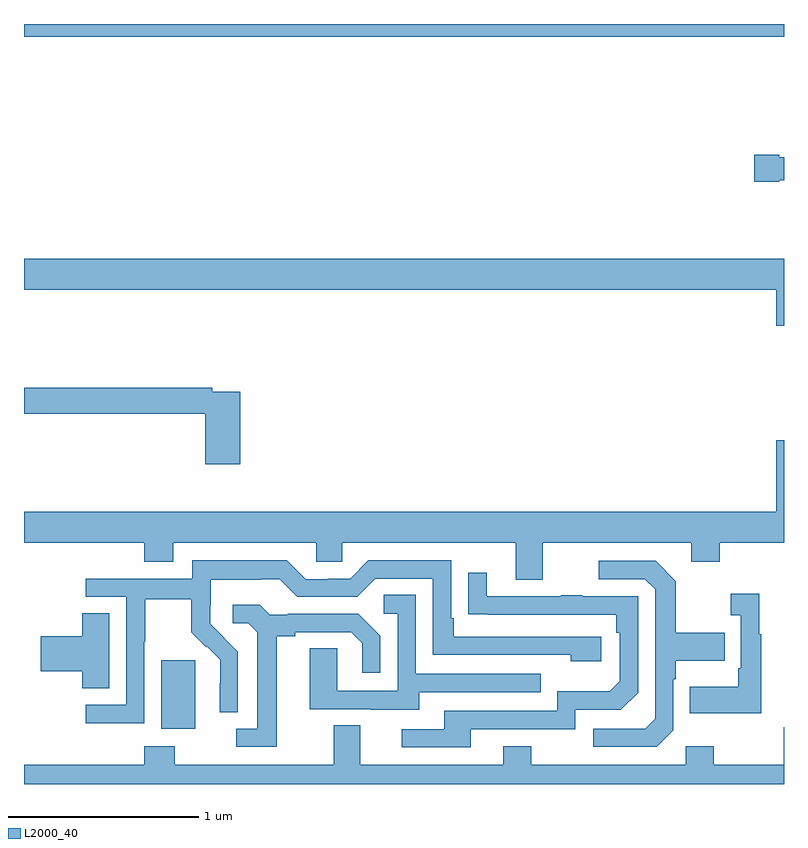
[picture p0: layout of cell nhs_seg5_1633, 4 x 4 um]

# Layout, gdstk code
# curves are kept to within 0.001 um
import gdstk
lib = gdstk.Library(unit=1e-6, precision=1e-09)
def R(c, l, rs):  # rectangles x0, y0, x1, y1
    for r in rs: c.add(gdstk.rectangle(r[:2], r[2:], *l))
def P(c, l, *ps):  # polygons
    for p in ps: c.add(gdstk.Polygon(p, *l))
L2000_40 = (2000, 40)

nhs_seg5_1633 = lib.new_cell('nhs_seg5_1633')
R(nhs_seg5_1633, L2000_40, [(209.723,881.09,209.902,881.451), (209,884.732,213,884.799)])
P(nhs_seg5_1633, L2000_40, [(212.976,883.976),(213,883.976),(213,884.098),(212.976,884.098),(212.976,884.111),(212.844,884.111),(212.844,883.969),(212.976,883.969)],
  [(213,883.564),(209,883.564),(209,883.4),(212.96,883.4),(212.96,883.212),(213,883.212)],
  [(210.137,882.864),(209.99,882.864),(209.99,882.884),(209,882.884),(209,882.748),(209.954,882.748),(209.954,882.483),(210.137,882.483)],
  [(211.729,882.068),(212.513,882.068),(212.513,881.969),(212.661,881.969),(212.661,882.068),(213,882.068),(213,882.607),(212.96,882.607),(212.96,882.232),(209,882.232),(209,882.068),(209.633,882.068),(209.633,881.969),(209.785,881.969),(209.785,882.068),(210.537,882.068),(210.537,881.97),(210.675,881.97),(210.675,882.068),(211.589,882.068),(211.589,881.874),(211.729,881.874)],
  [(209.634,881.548),(209.637,881.548),(209.637,881.772),(209.881,881.772),(209.881,881.597),(209.958,881.52),(209.961,881.523),(210.032,881.453),(210.032,881.33),(210.03,881.33),(210.03,881.176),(210.126,881.176),(210.126,881.494),(209.98,881.642),(209.98,881.739),(209.982,881.739),(209.982,881.873),(210.245,881.873),(210.245,881.877),(210.345,881.877),(210.438,881.784),(210.753,881.784),(210.849,881.88),(211.152,881.88),(211.152,881.478),(211.877,881.478),(211.877,881.444),(212.038,881.444),(212.038,881.574),(211.261,881.574),(211.261,881.671),(211.248,881.671),(211.248,881.976),(210.813,881.976),(210.717,881.88),(210.599,881.88),(210.599,881.877),(210.483,881.877),(210.383,881.977),(209.886,881.977),(209.886,881.88),(209.325,881.88),(209.325,881.784),(209.538,881.784),(209.538,881.217),(209.325,881.217),(209.325,881.119),(209.634,881.119)],
  [(212.418,881.082),(212.418,881.351),(212.431,881.351),(212.431,881.447),(212.687,881.447),(212.687,881.595),(212.431,881.595),(212.431,881.867),(212.325,881.973),(212.025,881.973),(212.025,881.877),(212.268,881.877),(212.322,881.823),(212.322,881.142),(212.271,881.091),(211.995,881.091),(211.995,880.995),(212.331,880.995)],
  [(211.351,881.088),(211.902,881.088),(211.902,881.19),(212.142,881.19),(212.232,881.28),(212.232,881.787),(211.937,881.787),(211.937,881.792),(211.825,881.792),(211.825,881.787),(211.435,881.787),(211.435,881.911),(211.339,881.911),(211.339,881.692),(212.116,881.691),(212.116,881.594),(212.136,881.594),(212.136,881.34),(212.083,881.287),(211.806,881.287),(211.806,881.184),(211.211,881.184),(211.211,881.088),(210.987,881.088),(210.987,880.992),(211.351,880.992)],
  [(212.881,881.587),(212.869,881.587),(212.869,881.8),(212.721,881.8),(212.721,881.687),(212.772,881.687),(212.772,881.407),(212.76,881.407),(212.76,881.311),(212.503,881.311),(212.503,881.171),(212.881,881.171)],
  [(211.081,881.283),(211.721,881.283),(211.721,881.379),(211.062,881.379),(211.062,881.795),(210.894,881.795),(210.894,881.694),(210.966,881.694),(210.966,881.289),(210.648,881.289),(210.648,881.513),(210.503,881.513),(210.503,881.193),(210.827,881.193),(210.827,881.189),(211.081,881.189)],
  [(210.331,881.576),(210.427,881.576),(210.427,881.598),(210.722,881.598),(210.779,881.541),(210.779,881.385),(210.876,881.385),(210.876,881.578),(210.76,881.694),(210.388,881.694),(210.388,881.691),(210.294,881.691),(210.242,881.743),(210.099,881.743),(210.099,881.646),(210.18,881.646),(210.227,881.599),(210.227,881.091),(210.117,881.091),(210.117,880.995),(210.331,880.995)],
  [(209.449,881.699),(209.306,881.699),(209.306,881.576),(209.088,881.576),(209.088,881.393),(209.306,881.393),(209.306,881.302),(209.449,881.302)],
  [(213,881.099),(212.998,881.099),(212.998,880.9),(212.631,880.9),(212.631,880.999),(212.484,880.999),(212.484,880.9),(211.671,880.9),(211.671,880.999),(211.523,880.999),(211.523,880.9),(210.769,880.9),(210.769,881.108),(210.629,881.108),(210.629,880.9),(209.793,880.9),(209.793,880.999),(209.633,880.999),(209.633,880.9),(209,880.9),(209,880.799),(213,880.799)])

lib.write_gds('nhs_seg5_1633.gds')
